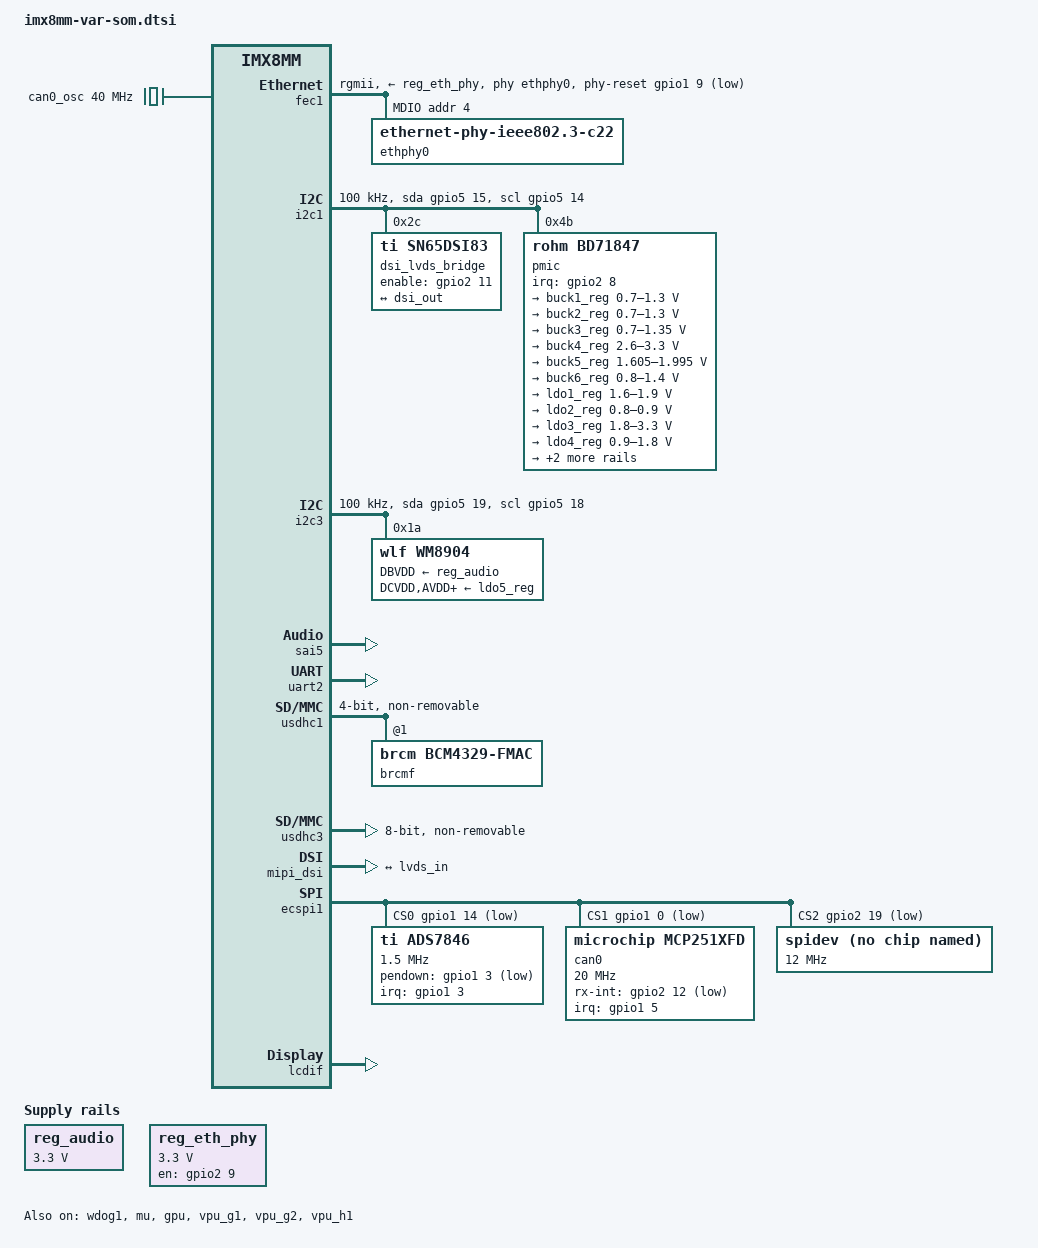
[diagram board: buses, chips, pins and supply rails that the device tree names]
// SPDX-License-Identifier: (GPL-2.0+ OR MIT)
/*
 * Copyright 2019 NXP
 * Copyright 2019-2021 Variscite Ltd.
 */

/dts-v1/;

#include <dt-bindings/usb/pd.h>
#include "imx8mm.dtsi"

/ {
	compatible = "variscite,dart-mx8mm", "fsl,imx8mm";

	reg_audio: audio_vdd {
		compatible = "regulator-fixed";
		regulator-name = "wm8904_supply";
		regulator-min-microvolt = <3300000>;
		regulator-max-microvolt = <3300000>;
		regulator-always-on;
	};

	reg_eth_phy: regulator-eth-phy {
		compatible = "regulator-fixed";
		pinctrl-names = "default";
		pinctrl-0 = <&pinctrl_reg_eth_phy>;
		regulator-name = "eth_phy_pwr";
		regulator-min-microvolt = <3300000>;
		regulator-max-microvolt = <3300000>;
		gpio = <&gpio2 9 GPIO_ACTIVE_HIGH>;
		enable-active-high;
	};

	reserved-memory {
		/* cma region is provided by kernel command line as cma=<size>M */
		/delete-node/ linux,cma;
	};

	sound-wm8904 {
		compatible = "simple-audio-card";
		simple-audio-card,bitclock-master = <&dailink_master>;
		simple-audio-card,format = "i2s";
		simple-audio-card,frame-master = <&dailink_master>;
		simple-audio-card,name = "wm8904-audio";
		simple-audio-card,routing =
			"Headphone Jack", "HPOUTL",
			"Headphone Jack", "HPOUTR",
			"IN2L", "Line In Jack",
			"IN2R", "Line In Jack",
			"IN1L", "Microphone Jack",
			"IN1R", "Microphone Jack";
		simple-audio-card,widgets =
			"Microphone", "Microphone Jack",
			"Headphone", "Headphone Jack",
			"Line", "Line In Jack";
		simple-audio-card,mclk-fs = <256>;

		dailink_master: simple-audio-card,codec {
			sound-dai = <&wm8904>;
		};

		simple-audio-card,cpu {
			sound-dai = <&sai5>;
		};
	};

	sound-spdif {
		compatible = "fsl,imx-audio-spdif";
		model = "imx-spdif";
		spdif-controller = <&spdif1>;
		spdif-out;
		spdif-in;
		status = "disabled";
	};

	can0_osc: can0_osc {
		compatible = "fixed-clock";
		#clock-cells = <0>;
		clock-frequency = <40000000>;
		clock-output-names = "can_osc";
	};
};

&A53_0 {
	cpu-supply = <&buck2_reg>;
};

&A53_1 {
	cpu-supply = <&buck2_reg>;
};

&A53_2 {
	cpu-supply = <&buck2_reg>;
};

&A53_3 {
	cpu-supply = <&buck2_reg>;
};

&fec1 {
	pinctrl-names = "default", "sleep";
	pinctrl-0 = <&pinctrl_fec1>;
	pinctrl-1 = <&pinctrl_fec1_sleep>;
	phy-mode = "rgmii";
	phy-handle = <&ethphy0>;
	phy-supply = <&reg_eth_phy>;
	phy-reset-gpios = <&gpio1 9 GPIO_ACTIVE_LOW>;
	phy-reset-duration = <10>;
	phy-reset-on-resume;
	status = "okay";

	mdio {
		#address-cells = <1>;
		#size-cells = <0>;

		ethphy0: ethernet-phy@4 {
			compatible = "ethernet-phy-ieee802.3-c22";
			reg = <4>;
			at803x,led-act-blind-workaround;
			at803x,eee-disabled;
			at803x,vddio-1p8v;
		};
	};
};

&i2c1 {
	clock-frequency = <100000>;
	pinctrl-names = "default", "gpio";
	pinctrl-0 = <&pinctrl_i2c1>;
	pinctrl-1 = <&pinctrl_i2c1_gpio>;
	scl-gpios = <&gpio5 14 GPIO_ACTIVE_HIGH>;
	sda-gpios = <&gpio5 15 GPIO_ACTIVE_HIGH>;
	status = "okay";

	dsi_lvds_bridge: sn65dsi84@2c {
		compatible = "ti,sn65dsi83";
		reg = <0x2c>;
		ti,dsi-lanes = <4>;
		ti,lvds-format = <1>;
		ti,lvds-bpp = <24>;
		ti,lvds-channels = <1>;
		ti,width-mm = <154>;
		ti,height-mm = <87>;
		enable-gpios = <&gpio2 11 GPIO_ACTIVE_HIGH>;
		pinctrl-names = "default";
		pinctrl-0 = <&pinctrl_lvds>;
		status = "okay";

		display-timings {
			lvds {
				clock-frequency = <33000000>;
				hactive = <800>;
				vactive = <480>;
				hback-porch = <40>;
				hfront-porch = <40>;
				vback-porch = <29>;
				vfront-porch = <13>;
				hsync-len = <48>;
				vsync-len = <3>;
				hsync-active = <0>;
				vsync-active = <0>;
				de-active = <1>;
				pixelclk-active = <0>;
			};
		};

		port {
			lvds_in: endpoint {
				remote-endpoint = <&dsi_out>;
			};
		};
	};

	pmic@4b {
		compatible = "rohm,bd71847";
		reg = <0x4b>;
		pinctrl-names = "default";
		pinctrl-0 = <&pinctrl_pmic>;
		interrupt-parent = <&gpio2>;
		interrupts = <8 IRQ_TYPE_LEVEL_LOW>;
		rohm,reset-snvs-powered;
		status = "okay";

		regulators {
			buck1_reg: BUCK1 {
				regulator-name = "BUCK1";
				regulator-min-microvolt = <700000>;
				regulator-max-microvolt = <1300000>;
				regulator-boot-on;
				regulator-always-on;
				regulator-ramp-delay = <1250>;
			};

			buck2_reg: BUCK2 {
				regulator-name = "BUCK2";
				regulator-min-microvolt = <700000>;
				regulator-max-microvolt = <1300000>;
				regulator-boot-on;
				regulator-always-on;
				regulator-ramp-delay = <1250>;
				rohm,dvs-run-voltage = <1000000>;
				rohm,dvs-idle-voltage = <900000>;
			};

			buck3_reg: BUCK3 {
				// BUCK5 in datasheet
				regulator-name = "BUCK3";
				regulator-min-microvolt = <700000>;
				regulator-max-microvolt = <1350000>;
				regulator-boot-on;
				regulator-always-on;
			};

			buck4_reg: BUCK4 {
				// BUCK6 in datasheet
				regulator-name = "BUCK4";
				regulator-min-microvolt = <2600000>;
				regulator-max-microvolt = <3300000>;
				regulator-boot-on;
				regulator-always-on;
			};

			buck5_reg: BUCK5 {
				// BUCK7 in datasheet
				regulator-name = "BUCK5";
				regulator-min-microvolt = <1605000>;
				regulator-max-microvolt = <1995000>;
				regulator-boot-on;
				regulator-always-on;
			};

			buck6_reg: BUCK6 {
				// BUCK8 in datasheet
				regulator-name = "BUCK6";
				regulator-min-microvolt = <800000>;
				regulator-max-microvolt = <1400000>;
				regulator-boot-on;
				regulator-always-on;
			};

			ldo1_reg: LDO1 {
				regulator-name = "LDO1";
				regulator-min-microvolt = <1600000>;
				regulator-max-microvolt = <1900000>;
				regulator-boot-on;
				regulator-always-on;
			};

			ldo2_reg: LDO2 {
				regulator-name = "LDO2";
				regulator-min-microvolt = <800000>;
				regulator-max-microvolt = <900000>;
				regulator-boot-on;
				regulator-always-on;
			};

			ldo3_reg: LDO3 {
				regulator-name = "LDO3";
				regulator-min-microvolt = <1800000>;
				regulator-max-microvolt = <3300000>;
				regulator-boot-on;
				regulator-always-on;
			};

			ldo4_reg: LDO4 {
				regulator-name = "LDO4";
				regulator-min-microvolt = <900000>;
				regulator-max-microvolt = <1800000>;
				regulator-always-on;
			};

			ldo5_reg: LDO5 {
				regulator-name = "LDO5";
				regulator-min-microvolt = <1800000>;
				regulator-max-microvolt = <1800000>;
				regulator-always-on;
			};

			ldo6_reg: LDO6 {
				regulator-name = "LDO6";
				regulator-min-microvolt = <900000>;
				regulator-max-microvolt = <1800000>;
				regulator-boot-on;
				regulator-always-on;
			};
		};
	};
};

&i2c3 {
	clock-frequency = <100000>;
	pinctrl-names = "default", "gpio";
	pinctrl-0 = <&pinctrl_i2c3>;
	pinctrl-1 = <&pinctrl_i2c3_gpio>;
	scl-gpios = <&gpio5 18 GPIO_ACTIVE_HIGH>;
	sda-gpios = <&gpio5 19 GPIO_ACTIVE_HIGH>;
	status = "okay";

	wm8904: audio-codec@1a {
		compatible = "wlf,wm8904";
		#sound-dai-cells = <0>;
		reg = <0x1a>;
		clocks = <&clk IMX8MM_CLK_SAI5_ROOT>;
		clock-names = "mclk";
		DBVDD-supply = <&reg_audio>;
		DCVDD-supply = <&ldo5_reg>;
		AVDD-supply = <&ldo5_reg>;
		CPVDD-supply = <&ldo5_reg>;
		MICVDD-supply = <&ldo5_reg>;
		num-drc-cfgs = <5>;
		drc-cfg-names = "default", "peaklimiter", "tradition", "soft", "music";
		drc-cfg-regs =
			/* coded default: KNEE_IP = KNEE_OP = 0, HI_COMP = LO_COMP = 1  */
			<0x01af 0x3248 0x0000 0x0000>,
			/* coded default: KNEE_IP = -24, KNEE_OP = -6, HI_COMP = 1/4, LO_COMP = 1 */
			<0x04af 0x324b 0x0010 0x0408>,
			/* coded default: KNEE_IP = -42, KNEE_OP = -3, HI_COMP = 0, LO_COMP = 1 */
			<0x04af 0x324b 0x0028 0x0704>,
			/* coded default: KNEE_IP = -45, KNEE_OP = -9, HI_COMP = 1/8, LO_COMP = 1 */
			<0x04af 0x324b 0x0018 0x078c>,
			/* coded default: KNEE_IP = -30, KNEE_OP = -10.5, HI_COMP = 1/4, LO_COMP = 1 */
			<0x04af 0x324b 0x0010 0x050e>;
		gpio-cfg = <
			0x0018 /* GPIO1 => DMIC_CLK */
			0xffff /* GPIO2 => don't touch */
			0xffff /* GPIO3 => don't touch */
			0xffff /* GPIO4 => don't touch */
		>;
		status = "okay";
	};
};

&sai5 {
	#sound-dai-cells = <0>;
	pinctrl-names = "default";
	pinctrl-0 = <&pinctrl_sai5>;
	assigned-clocks = <&clk IMX8MM_CLK_SAI5>;
	assigned-clock-parents = <&clk IMX8MM_AUDIO_PLL1_OUT>;
	assigned-clock-rates = <1536000>;
	status = "okay";
};

&spdif1 {
	pinctrl-names = "default";
	pinctrl-0 = <&pinctrl_spdif1>;
	assigned-clocks = <&clk IMX8MM_CLK_SPDIF1>;
	assigned-clock-parents = <&clk IMX8MM_AUDIO_PLL1_OUT>;
	assigned-clock-rates = <24576000>;
	clocks = <&clk IMX8MM_CLK_AUDIO_AHB>, <&clk IMX8MM_CLK_24M>,
		<&clk IMX8MM_CLK_SPDIF1>, <&clk IMX8MM_CLK_DUMMY>,
		<&clk IMX8MM_CLK_DUMMY>, <&clk IMX8MM_CLK_DUMMY>,
		<&clk IMX8MM_CLK_AUDIO_AHB>, <&clk IMX8MM_CLK_DUMMY>,
		<&clk IMX8MM_CLK_DUMMY>, <&clk IMX8MM_CLK_DUMMY>,
		<&clk IMX8MM_AUDIO_PLL1_OUT>, <&clk IMX8MM_AUDIO_PLL2_OUT>;
	clock-names = "core", "rxtx0", "rxtx1", "rxtx2", "rxtx3",
		"rxtx4", "rxtx5", "rxtx6", "rxtx7", "spba", "pll8k", "pll11k";
	status = "disabled";
};

/* Bluetooth */
&uart2 {
	pinctrl-names = "default";
	pinctrl-0 = <&pinctrl_uart2>, <&pinctrl_bt>;
	assigned-clocks = <&clk IMX8MM_CLK_UART2>;
	assigned-clock-parents = <&clk IMX8MM_SYS_PLL1_80M>;
	uart-has-rtscts;
	status = "okay";
};

/* WIFI */
&usdhc1 {
	#address-cells = <1>;
	#size-cells = <0>;
	pinctrl-names = "default", "state_100mhz", "state_200mhz";
	pinctrl-0 = <&pinctrl_usdhc1>, <&pinctrl_wifi>;
	pinctrl-1 = <&pinctrl_usdhc1_100mhz>, <&pinctrl_wifi>;
	pinctrl-2 = <&pinctrl_usdhc1_200mhz>, <&pinctrl_wifi>;
	bus-width = <4>;
	non-removable;
	keep-power-in-suspend;
	status = "okay";

	brcmf: wifi@1 {
		reg = <1>;
		compatible = "brcm,bcm4329-fmac";
		laird,regdomain = "US";
	};
};

/* EMMC */
&usdhc3 {
	pinctrl-names = "default", "state_100mhz", "state_200mhz";
	pinctrl-0 = <&pinctrl_usdhc3>;
	pinctrl-1 = <&pinctrl_usdhc3_100mhz>;
	pinctrl-2 = <&pinctrl_usdhc3_200mhz>;
	bus-width = <8>;
	non-removable;
	status = "okay";
};

&mipi_dsi {
	status = "okay";

	port@1 {
		dsi_out: endpoint {
			remote-endpoint = <&lvds_in>;
			attach-bridge;
		};
	};
};

&wdog1 {
	pinctrl-names = "default";
	pinctrl-0 = <&pinctrl_wdog>;
	fsl,ext-reset-output;
	status = "okay";
};

&ecspi1 {
	pinctrl-names = "default";
	pinctrl-0 = <&pinctrl_ecspi1>;
	cs-gpios = <&gpio1 14 GPIO_ACTIVE_LOW>,
		   <&gpio1  0 GPIO_ACTIVE_LOW>,
		   <&gpio2 19 GPIO_ACTIVE_LOW>;
	status = "okay";

	/* Resistive touch controller */
	ads7846@0 {
		reg = <0>;
		compatible = "ti,ads7846";
		pinctrl-names = "default";
		pinctrl-0 = <&pinctrl_restouch>;
		interrupt-parent = <&gpio1>;
		interrupts = <3 IRQ_TYPE_EDGE_FALLING>;
		spi-max-frequency = <1500000>;
		pendown-gpio = <&gpio1 3 GPIO_ACTIVE_LOW>;
		ti,x-min = /bits/ 16 <125>;
		ti,x-max = /bits/ 16 <4008>;
		ti,y-min = /bits/ 16 <282>;
		ti,y-max = /bits/ 16 <3864>;
		ti,x-plate-ohms = /bits/ 16 <180>;
		ti,pressure-max = /bits/ 16 <255>;
		ti,debounce-max = /bits/ 16 <10>;
		ti,debounce-tol = /bits/ 16 <3>;
		ti,debounce-rep = /bits/ 16 <1>;
		ti,settle-delay-usec = /bits/ 16 <150>;
		ti,keep-vref-on;
		wakeup-source;
		status = "okay";
	};

	/* CAN controller */
	can0: can@1 {
		reg = <1>;
		compatible = "microchip,mcp251xfd";
		pinctrl-names = "default";
		pinctrl-0 = <&pinctrl_can>;
		clocks = <&can0_osc>;
		interrupt-parent = <&gpio1>;
		interrupts = <5 IRQ_TYPE_LEVEL_LOW>;
		/* On SOM revions 1.2 and below RX-INT GPIO is not available */
		microchip,rx-int-gpios = <&gpio2 12 GPIO_ACTIVE_LOW>;
		/* On SOM revions 1.2 and below the spi-max-frequency should be 10000000 */
		spi-max-frequency = <20000000>;
		status = "okay";
	};

	/* Test SPI device */
	spidev@2 {
		reg = <2>;
		compatible = "var,spidev";
		spi-max-frequency = <12000000>;
		status = "okay";
	};
};

&mu {
	status = "okay";
};

&lcdif {
	status = "okay";
};

&gpu {
	status = "okay";
};

&vpu_g1 {
	status = "okay";
};

&vpu_g2 {
	status = "okay";
};

&vpu_h1 {
	status = "okay";
};

&iomuxc {
	pinctrl_fec1: fec1grp {
		fsl,pins = <
			MX8MM_IOMUXC_ENET_MDC_ENET1_MDC			0x3
			MX8MM_IOMUXC_ENET_MDIO_ENET1_MDIO		0x3
			MX8MM_IOMUXC_ENET_TD3_ENET1_RGMII_TD3		0x1f
			MX8MM_IOMUXC_ENET_TD2_ENET1_RGMII_TD2		0x1f
			MX8MM_IOMUXC_ENET_TD1_ENET1_RGMII_TD1		0x1f
			MX8MM_IOMUXC_ENET_TD0_ENET1_RGMII_TD0		0x1f
			MX8MM_IOMUXC_ENET_RD3_ENET1_RGMII_RD3		0x91
			MX8MM_IOMUXC_ENET_RD2_ENET1_RGMII_RD2		0x91
			MX8MM_IOMUXC_ENET_RD1_ENET1_RGMII_RD1		0x91
			MX8MM_IOMUXC_ENET_RD0_ENET1_RGMII_RD0		0x91
			MX8MM_IOMUXC_ENET_TXC_ENET1_RGMII_TXC		0x1f
			MX8MM_IOMUXC_ENET_RXC_ENET1_RGMII_RXC		0x91
			MX8MM_IOMUXC_ENET_RX_CTL_ENET1_RGMII_RX_CTL	0x91
			MX8MM_IOMUXC_ENET_TX_CTL_ENET1_RGMII_TX_CTL	0x1f
			MX8MM_IOMUXC_GPIO1_IO09_GPIO1_IO9		0x19
		>;
	};

	pinctrl_fec1_sleep: fec1grpsleep {
		fsl,pins = <
			MX8MM_IOMUXC_ENET_MDC_GPIO1_IO16		0x120
			MX8MM_IOMUXC_ENET_MDIO_GPIO1_IO17		0x120
			MX8MM_IOMUXC_ENET_TD3_GPIO1_IO18		0x120
			MX8MM_IOMUXC_ENET_TD2_GPIO1_IO19		0x120
			MX8MM_IOMUXC_ENET_TD1_GPIO1_IO20		0x120
			MX8MM_IOMUXC_ENET_TD0_GPIO1_IO21		0x120
			MX8MM_IOMUXC_ENET_RD3_GPIO1_IO29		0x120
			MX8MM_IOMUXC_ENET_RD2_GPIO1_IO28		0x120
			MX8MM_IOMUXC_ENET_RD1_GPIO1_IO27		0x120
			MX8MM_IOMUXC_ENET_RD0_GPIO1_IO26		0x120
			MX8MM_IOMUXC_ENET_TXC_GPIO1_IO23		0x120
			MX8MM_IOMUXC_ENET_RXC_GPIO1_IO25		0x120
			MX8MM_IOMUXC_ENET_RX_CTL_GPIO1_IO24		0x120
			MX8MM_IOMUXC_ENET_TX_CTL_GPIO1_IO22		0x120
			MX8MM_IOMUXC_GPIO1_IO09_GPIO1_IO9		0x120
		>;
	};

	pinctrl_i2c1: i2c1grp {
		fsl,pins = <
			MX8MM_IOMUXC_I2C1_SCL_I2C1_SCL			0x400001c3
			MX8MM_IOMUXC_I2C1_SDA_I2C1_SDA			0x400001c3
		>;
	};

	pinctrl_i2c3: i2c3grp {
		fsl,pins = <
			MX8MM_IOMUXC_I2C3_SCL_I2C3_SCL			0x400001c3
			MX8MM_IOMUXC_I2C3_SDA_I2C3_SDA			0x400001c3
		>;
	};

	pinctrl_i2c1_gpio: i2c1grp-gpio {
		fsl,pins = <
			MX8MM_IOMUXC_I2C1_SCL_GPIO5_IO14		0x1c3
			MX8MM_IOMUXC_I2C1_SDA_GPIO5_IO15		0x1c3
		>;
	};

	pinctrl_i2c3_gpio: i2c3grp-gpio {
		fsl,pins = <
			MX8MM_IOMUXC_I2C3_SCL_GPIO5_IO18		0x1c3
			MX8MM_IOMUXC_I2C3_SDA_GPIO5_IO19		0x1c3
		>;
	};

	pinctrl_lvds: lvdsgrp {
		fsl,pins = <
			MX8MM_IOMUXC_SD1_STROBE_GPIO2_IO11		0x16
		>;
	};

	pinctrl_pmic: pmicgrp {
		fsl,pins = <
			MX8MM_IOMUXC_SD1_DATA6_GPIO2_IO8		0x140
		>;
	};

	pinctrl_reg_eth_phy: regethphy {
		fsl,pins = <
			MX8MM_IOMUXC_SD1_DATA7_GPIO2_IO9		0x41
		>;
	};

	pinctrl_sai5: sai5grp {
		fsl,pins = <
			MX8MM_IOMUXC_SAI5_RXD1_SAI5_TX_SYNC		0xd6
			MX8MM_IOMUXC_SAI5_RXFS_SAI5_RX_SYNC		0xd6
			MX8MM_IOMUXC_SAI5_RXD3_SAI5_TX_DATA0		0xd6
			MX8MM_IOMUXC_SAI5_RXD0_SAI5_RX_DATA0		0xd6
			MX8MM_IOMUXC_SAI5_RXC_SAI5_RX_BCLK		0xd6
			MX8MM_IOMUXC_SAI5_RXD2_SAI5_TX_BCLK		0xd6
			MX8MM_IOMUXC_SAI5_MCLK_SAI5_MCLK		0xd6
		>;
	};

	pinctrl_spdif1: spdif1grp {
		fsl,pins = <
			MX8MM_IOMUXC_SPDIF_TX_SPDIF1_OUT		0xd6
			MX8MM_IOMUXC_SPDIF_RX_SPDIF1_IN			0xd6
		>;
	};

	pinctrl_uart2: uart2grp {
		fsl,pins = <
			MX8MM_IOMUXC_SAI3_TXFS_UART2_DCE_RX		0x140
			MX8MM_IOMUXC_SAI3_TXC_UART2_DCE_TX		0x140
			MX8MM_IOMUXC_SAI3_RXC_UART2_DCE_CTS_B		0x140
			MX8MM_IOMUXC_SAI3_RXD_UART2_DCE_RTS_B		0x140
		>;
	};

	pinctrl_usdhc1: usdhc1grp {
		fsl,pins = <
			MX8MM_IOMUXC_SD1_CLK_USDHC1_CLK			0x190
			MX8MM_IOMUXC_SD1_CMD_USDHC1_CMD			0x1d0
			MX8MM_IOMUXC_SD1_DATA0_USDHC1_DATA0		0x1d0
			MX8MM_IOMUXC_SD1_DATA1_USDHC1_DATA1		0x1d0
			MX8MM_IOMUXC_SD1_DATA2_USDHC1_DATA2		0x1d0
			MX8MM_IOMUXC_SD1_DATA3_USDHC1_DATA3		0x1d0
		>;
	};

	pinctrl_usdhc1_100mhz: usdhc1grp100mhz {
		fsl,pins = <
			MX8MM_IOMUXC_SD1_CLK_USDHC1_CLK			0x194
			MX8MM_IOMUXC_SD1_CMD_USDHC1_CMD			0x1d4
			MX8MM_IOMUXC_SD1_DATA0_USDHC1_DATA0		0x1d4
			MX8MM_IOMUXC_SD1_DATA1_USDHC1_DATA1		0x1d4
			MX8MM_IOMUXC_SD1_DATA2_USDHC1_DATA2		0x1d4
			MX8MM_IOMUXC_SD1_DATA3_USDHC1_DATA3		0x1d4
		>;
	};

	pinctrl_usdhc1_200mhz: usdhc1grp200mhz {
		fsl,pins = <
			MX8MM_IOMUXC_SD1_CLK_USDHC1_CLK			0x196
			MX8MM_IOMUXC_SD1_CMD_USDHC1_CMD			0x1d6
			MX8MM_IOMUXC_SD1_DATA0_USDHC1_DATA0		0x1d6
			MX8MM_IOMUXC_SD1_DATA1_USDHC1_DATA1		0x1d6
			MX8MM_IOMUXC_SD1_DATA2_USDHC1_DATA2		0x1d6
			MX8MM_IOMUXC_SD1_DATA3_USDHC1_DATA3		0x1d6
		>;
	};

	pinctrl_usdhc3: usdhc3grp {
		fsl,pins = <
			MX8MM_IOMUXC_NAND_WE_B_USDHC3_CLK		0x190
			MX8MM_IOMUXC_NAND_WP_B_USDHC3_CMD		0x1d0
			MX8MM_IOMUXC_NAND_DATA04_USDHC3_DATA0		0x1d0
			MX8MM_IOMUXC_NAND_DATA05_USDHC3_DATA1		0x1d0
			MX8MM_IOMUXC_NAND_DATA06_USDHC3_DATA2		0x1d0
			MX8MM_IOMUXC_NAND_DATA07_USDHC3_DATA3		0x1d0
			MX8MM_IOMUXC_NAND_RE_B_USDHC3_DATA4		0x1d0
			MX8MM_IOMUXC_NAND_CE2_B_USDHC3_DATA5		0x1d0
			MX8MM_IOMUXC_NAND_CE3_B_USDHC3_DATA6		0x1d0
			MX8MM_IOMUXC_NAND_CLE_USDHC3_DATA7		0x1d0
			MX8MM_IOMUXC_NAND_CE1_B_USDHC3_STROBE 		0x190
		>;
	};

	pinctrl_usdhc3_100mhz: usdhc3grp100mhz {
		fsl,pins = <
			MX8MM_IOMUXC_NAND_WE_B_USDHC3_CLK		0x194
			MX8MM_IOMUXC_NAND_WP_B_USDHC3_CMD		0x1d4
			MX8MM_IOMUXC_NAND_DATA04_USDHC3_DATA0		0x1d4
			MX8MM_IOMUXC_NAND_DATA05_USDHC3_DATA1		0x1d4
			MX8MM_IOMUXC_NAND_DATA06_USDHC3_DATA2		0x1d4
			MX8MM_IOMUXC_NAND_DATA07_USDHC3_DATA3		0x1d4
			MX8MM_IOMUXC_NAND_RE_B_USDHC3_DATA4		0x1d4
			MX8MM_IOMUXC_NAND_CE2_B_USDHC3_DATA5		0x1d4
			MX8MM_IOMUXC_NAND_CE3_B_USDHC3_DATA6		0x1d4
			MX8MM_IOMUXC_NAND_CLE_USDHC3_DATA7		0x1d4
			MX8MM_IOMUXC_NAND_CE1_B_USDHC3_STROBE 		0x194
		>;
	};

	pinctrl_usdhc3_200mhz: usdhc3grp200mhz {
		fsl,pins = <
			MX8MM_IOMUXC_NAND_WE_B_USDHC3_CLK		0x196
			MX8MM_IOMUXC_NAND_WP_B_USDHC3_CMD		0x1d6
			MX8MM_IOMUXC_NAND_DATA04_USDHC3_DATA0		0x1d6
			MX8MM_IOMUXC_NAND_DATA05_USDHC3_DATA1		0x1d6
			MX8MM_IOMUXC_NAND_DATA06_USDHC3_DATA2		0x1d6
			MX8MM_IOMUXC_NAND_DATA07_USDHC3_DATA3		0x1d6
			MX8MM_IOMUXC_NAND_RE_B_USDHC3_DATA4		0x1d6
			MX8MM_IOMUXC_NAND_CE2_B_USDHC3_DATA5		0x1d6
			MX8MM_IOMUXC_NAND_CE3_B_USDHC3_DATA6		0x1d6
			MX8MM_IOMUXC_NAND_CLE_USDHC3_DATA7		0x1d6
			MX8MM_IOMUXC_NAND_CE1_B_USDHC3_STROBE 		0x196
		>;
	};

	pinctrl_wdog: wdoggrp {
		fsl,pins = <
			MX8MM_IOMUXC_GPIO1_IO02_WDOG1_WDOG_B		0xc6
		>;
	};

	pinctrl_wifi: wifigrp {
		fsl,pins = <
			MX8MM_IOMUXC_SD1_DATA5_GPIO2_IO7		0xc1	/* WIFI_3V3_PWR_EN */
			MX8MM_IOMUXC_SD2_WP_GPIO2_IO20			0x140	/* WIFI_1V8_PWR_EN */
			MX8MM_IOMUXC_SD1_RESET_B_GPIO2_IO10		0xc1	/* WIFI_REG_ON     */
		>;
	};

	pinctrl_bt: btgrp {
		fsl,pins = <
			MX8MM_IOMUXC_SD1_DATA4_GPIO2_IO6		0xc1	/* BT_REG_ON       */
		>;
	};

	pinctrl_ecspi1: ecspi1grp {
		fsl,pins = <
			MX8MM_IOMUXC_ECSPI1_SCLK_ECSPI1_SCLK		0x13
			MX8MM_IOMUXC_ECSPI1_MOSI_ECSPI1_MOSI		0x13
			MX8MM_IOMUXC_ECSPI1_MISO_ECSPI1_MISO		0x13
			MX8MM_IOMUXC_GPIO1_IO14_GPIO1_IO14		0x13
			MX8MM_IOMUXC_GPIO1_IO00_GPIO1_IO0		0x13
			MX8MM_IOMUXC_SD2_RESET_B_GPIO2_IO19		0x13
		>;
	};

	pinctrl_can: cangrp {
		fsl,pins = <
			MX8MM_IOMUXC_GPIO1_IO05_GPIO1_IO5		0x16
		>;
	};

	pinctrl_restouch: restouchgrp {
		fsl,pins = <
			MX8MM_IOMUXC_GPIO1_IO03_GPIO1_IO3		0x1c0
		>;
	};
};
